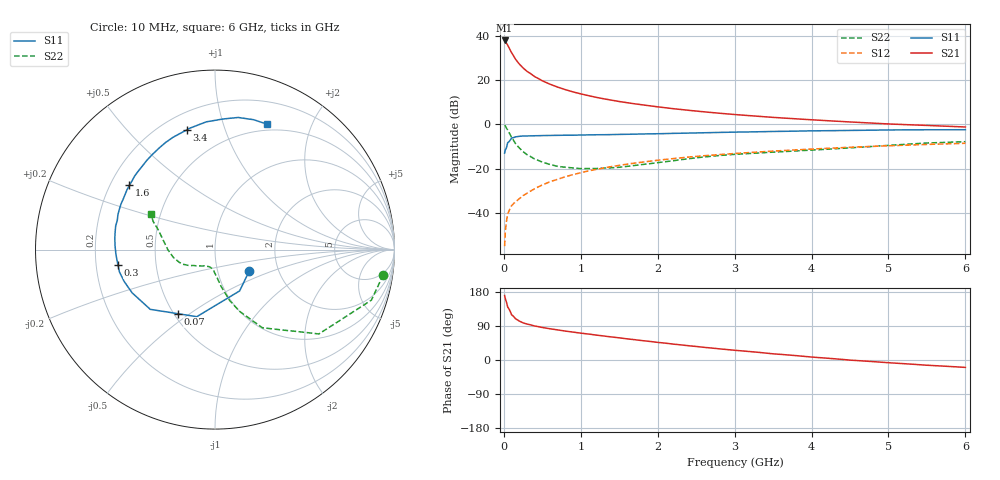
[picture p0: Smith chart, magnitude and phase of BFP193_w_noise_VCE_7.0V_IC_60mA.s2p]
! (c) 2017  Infineon Technologies AG, Munich
! Infineon Technologies  Discrete & RF Semiconductors
! BFP193
! VCE =  7.0 V,  IC =  60 mA
! Common Emitter S-Parameters:  Jan 2017
# GHz  S  MA  R  50
!  f  S11  S21  S12  S22
! GHz  MAG  ANG  MAG  ANG  MAG  ANG  MAG  ANG
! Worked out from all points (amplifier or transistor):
!   77 points, 10 MHz to 6 GHz, reference 50 ohm
!   highest |S21| = 37.8 dB at 10 MHz (marker M1)
!   |S21| within 3 dB of that: start of sweep to 63.49 MHz
!   unconditionally stable (mu >= 1): 552.2 MHz to 2.376 GHz
!   at 130 MHz: K = 0.63, MSG = 33.1 dB, |S12| = -35.6 dB
!   at 2.2 GHz: K = 1.01, MAG = 10.7 dB, |S12| = -15.4 dB
!   at 6 GHz: K = 0.91, MSG = 3.7 dB, |S12| = -8.5 dB
!   lowest NFmin = 1.67 dB at 450 MHz
!   S11 on the Smith chart (normalised r, x): 10 MHz: 1.42, -0.36; 70 MHz: 0.53, -0.45; 300 MHz: 0.29, -0.07; 1.6 GHz: 0.28, +0.31; 3.4 GHz: 0.30, +0.75; 6 GHz: 0.43, +1.41
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0.01  0.2251 -31.9  77.51 170.1  0.0018 77.8  0.948 -8.5
0.02  0.268 -59.2  75.74 161.4  0.004 83.6  0.9158 -17.9
0.05  0.3874 -105.2  60.76 139.8  0.0095 66.5  0.7453 -39.1
0.07  0.4122 -119.9  52.17 133.5  0.0115 64.7  0.6425 -45.2
0.1  0.4909 -137.3  41.06 119.5  0.0146 63.0  0.5089 -58.8
0.15  0.5209 -152.5  29.6 109.2  0.0179 59.8  0.3714 -68.2
0.2  0.5366 -160.8  22.95 102.8  0.021 62.5  0.294 -74.0
0.25  0.5468 -166.9  18.65 98.1  0.0248 63.3  0.2432 -77.3
0.3  0.5476 -171.1  15.67 94.9  0.0279 65.4  0.2081 -80.6
0.4  0.5528 -177.4  11.91 89.7  0.0353 67.5  0.1656 -84.6
0.5  0.5578 177.5  9.564 85.8  0.0431 68.8  0.141 -88.4
0.6  0.5618 173.3  8.021 82.4  0.0508 69.1  0.1246 -91.9
0.7  0.5649 170.0  6.886 79.4  0.0579 69.9  0.1129 -94.8
0.8  0.5689 166.6  6.042 76.3  0.066 69.5  0.1078 -97.8
1.1  0.5781 157.3  4.425 68.5  0.0894 66.6  0.1009 -108.7
1.6  0.5965 143.1  3.074 55.9  0.1265 61.6  0.1129 -125.9
2.1  0.619 130.0  2.364 44.4  0.162 55.2  0.1439 -141.6
3.1  0.6711 108.8  1.614 24.0  0.2257 42.7  0.2156 -162.3
3.4  0.6849 103.4  1.476 18.4  0.2433 39.3  0.231 -167.8
4.1  0.7156 92.4  1.237 6.3  0.2822 31.0  0.2687 177.6
5.1  0.7482 78.7  1.004 -8.4  0.3334 19.5  0.3441 159.5
6  0.7566 67.5  0.871 -19.5  0.374 9.5  0.4064 151.1
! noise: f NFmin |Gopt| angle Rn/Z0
0.45  1.67  0.48  -170  0.1
0.9  1.73  0.49  -163  0.1
1.9  2.41  0.62  -131  0.27
2.4  2.75  0.65  -118  0.56
